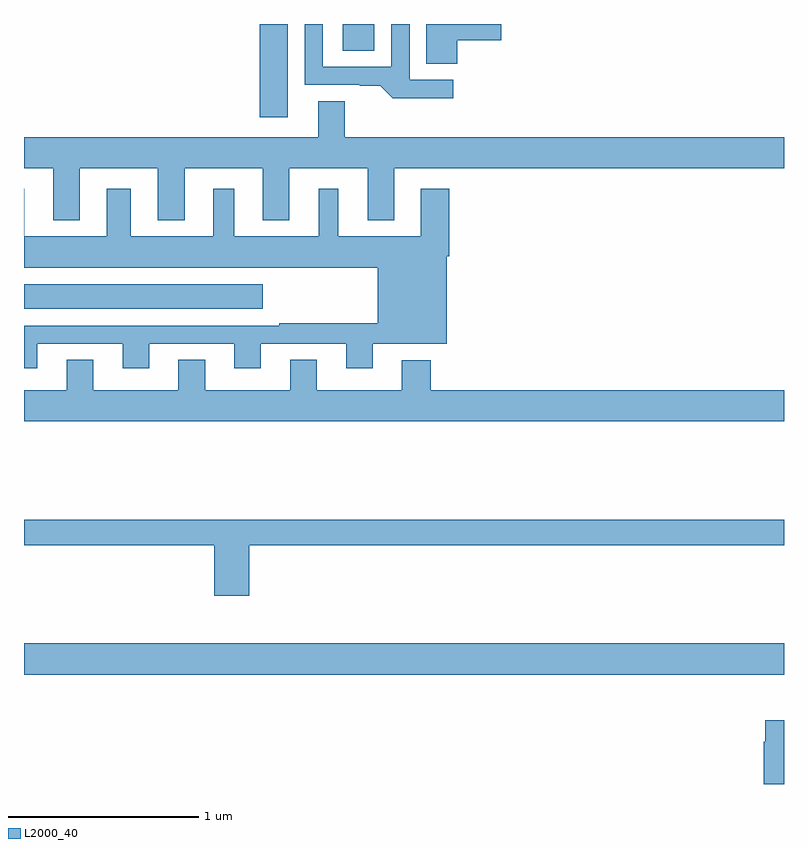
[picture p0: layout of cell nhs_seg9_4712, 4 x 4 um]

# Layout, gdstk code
import gdstk
lib = gdstk.Library(unit=1e-6, precision=1e-09)
def R(c, l, rs):  # rectangles x0, y0, x1, y1
    for r in rs: c.add(gdstk.rectangle(r[:2], r[2:], *l))
def P(c, l, *ps):  # polygons
    for p in ps: c.add(gdstk.Polygon(p, *l))
L2000_40 = (2000, 40)

nhs_seg9_4712 = lib.new_cell('nhs_seg9_4712')
R(nhs_seg9_4712, L2000_40, [(383,1207.076,387,1207.24), (383,1209.002,384.256,1209.13), (384.242,1210.008,384.388,1210.5), (384.677,1210.36,384.844,1210.5)])
P(nhs_seg9_4712, L2000_40, [(385.258,1210.206),(385.029,1210.206),(385.029,1210.5),(384.933,1210.5),(384.933,1210.275),(384.573,1210.275),(384.573,1210.5),(384.477,1210.5),(384.477,1210.179),(384.767,1210.179),(384.767,1210.174),(384.875,1210.174),(384.941,1210.109),(385.258,1210.109)],
  [(385.28,1210.415),(385.513,1210.415),(385.513,1210.5),(385.118,1210.5),(385.118,1210.291),(385.28,1210.291)],
  [(383.293,1209.74),(383.705,1209.74),(383.705,1209.467),(383.845,1209.467),(383.845,1209.74),(384.257,1209.74),(384.257,1209.467),(384.397,1209.467),(384.397,1209.74),(384.809,1209.74),(384.809,1209.467),(384.949,1209.467),(384.949,1209.74),(387,1209.74),(387,1209.904),(384.688,1209.904),(384.688,1210.094),(384.548,1210.094),(384.548,1209.904),(383,1209.904),(383,1209.74),(383.153,1209.74),(383.153,1209.467),(383.293,1209.467)],
  [(383.071,1208.817),(383.519,1208.817),(383.519,1208.688),(383.659,1208.688),(383.659,1208.817),(384.107,1208.817),(384.107,1208.688),(384.247,1208.688),(384.247,1208.817),(384.695,1208.817),(384.695,1208.688),(384.835,1208.688),(384.835,1208.816),(385.225,1208.816),(385.225,1209.278),(385.238,1209.278),(385.238,1209.634),(385.088,1209.634),(385.088,1209.382),(384.655,1209.382),(384.655,1209.634),(384.551,1209.634),(384.551,1209.382),(384.106,1209.382),(384.106,1209.634),(383.996,1209.634),(383.996,1209.382),(383.563,1209.382),(383.563,1209.634),(383.435,1209.634),(383.435,1209.382),(383.002,1209.382),(383.002,1209.634),(383,1209.634),(383,1209.218),(384.863,1209.218),(384.863,1208.926),(384.343,1208.926),(384.343,1208.913),(383,1208.913),(383,1208.688),(383.071,1208.688)],
  [(387,1208.572),(385.142,1208.572),(385.142,1208.731),(384.989,1208.731),(384.989,1208.572),(384.541,1208.572),(384.541,1208.732),(384.401,1208.732),(384.401,1208.572),(383.953,1208.572),(383.953,1208.732),(383.813,1208.732),(383.813,1208.572),(383.365,1208.572),(383.365,1208.732),(383.225,1208.732),(383.225,1208.572),(383,1208.572),(383,1208.408),(387,1208.408)],
  [(384.185,1207.756),(387,1207.756),(387,1207.892),(383,1207.892),(383,1207.756),(384.002,1207.756),(384.002,1207.491),(384.185,1207.491)],
  [(387,1206.835),(386.901,1206.835),(386.901,1206.722),(386.893,1206.722),(386.893,1206.5),(387,1206.5)])

lib.write_gds('nhs_seg9_4712.gds')
